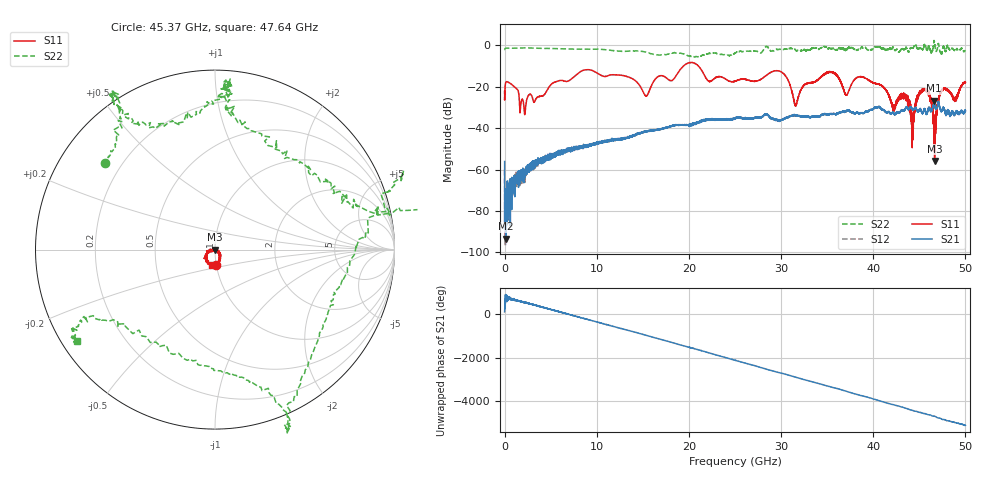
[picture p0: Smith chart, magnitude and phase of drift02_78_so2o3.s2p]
!Created with skrf (http://scikit-rf.org).
# Hz S RI R 50.0
!freq ReS11 ImS11 ReS21 ImS21 ReS12 ImS12 ReS22 ImS22
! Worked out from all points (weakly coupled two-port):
!   10001 points, 300 kHz to 50 GHz, reference 50 ohm
!   highest |S21| = -26.86 dB at 46.6 GHz (marker M1); lowest = -93.4 dB at 155.3 MHz (marker M2)
!   lowest |S11| = -55.9 dB at 46.66 GHz (marker M3), VSWR 1.00, Z = 50.1 - j0.126 ohm
!   |S11| at or under -10 dB: start of sweep to 19.43 GHz; 21.01 GHz to end of sweep
!   |S22| runs from -5.7 to 2.3 dB; largest |S21 - S12| = 0.005
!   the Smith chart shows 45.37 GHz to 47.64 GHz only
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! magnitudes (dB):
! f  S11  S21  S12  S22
! 300 kHz  -22.3  -56.1  -60.3  -2.0
! 155.3 MHz  -17.7  -93.4  -84.0  -1.4
! 2.185 GHz  -33.6  -62.1  -63.4  -1.3
! 8.335 GHz  -12.5  -49.6  -49.0  -1.9
! 15.34 GHz  -24.6  -41.8  -41.6  -3.3
! 16.67 GHz  -15.1  -40.8  -40.7  -4.7
! 20.29 GHz  -8.4  -38.1  -38.1  -5.5
! 25 GHz  -17.4  -35.4  -35.3  -3.9
! 29.83 GHz  -12.5  -36.6  -36.5  -2.0
! 31.6 GHz  -29.0  -33.6  -34.0  -2.5
! 33.34 GHz  -18.0  -34.6  -34.4  -1.6
! 35.6 GHz  -13.1  -33.2  -33.3  -1.6
! 37.1 GHz  -24.2  -31.8  -31.6  -2.2
! 38.76 GHz  -15.3  -32.7  -32.7  -1.0
! 41.67 GHz  -24.2  -32.1  -32.1  -1.9
! 43.49 GHz  -23.9  -30.9  -30.7  -1.5
! 44.27 GHz  -37.0  -31.1  -31.1  -1.4
! 45.72 GHz  -21.7  -32.7  -32.5  -1.0
! 46.6 GHz  -37.6  -26.9  -26.9  2.0
! 46.66 GHz  -55.9  -28.1  -28.3  0.9
! 47.47 GHz  -21.7  -31.7  -31.5  -3.3
! 50 GHz  -18.0  -31.7  -32.0  -2.7
